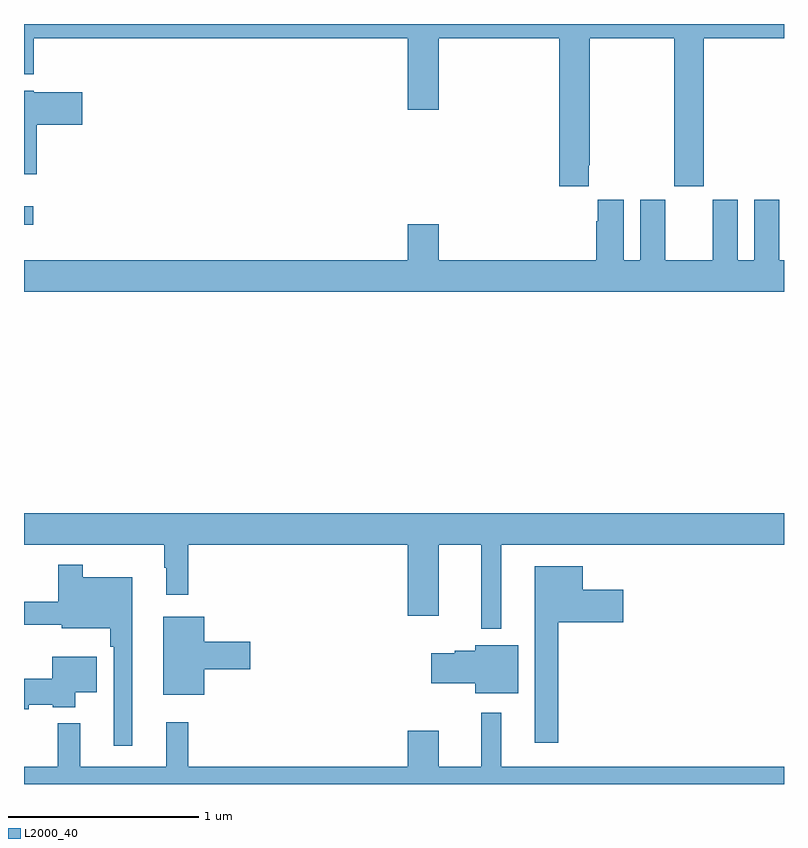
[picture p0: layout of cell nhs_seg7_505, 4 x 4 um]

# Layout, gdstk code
import gdstk
lib = gdstk.Library(unit=1e-6, precision=1e-09)
def R(c, l, rs):  # rectangles x0, y0, x1, y1
    for r in rs: c.add(gdstk.rectangle(r[:2], r[2:], *l))
def P(c, l, *ps):  # polygons
    for p in ps: c.add(gdstk.Polygon(p, *l))
L2000_40 = (2000, 40)

nhs_seg7_505 = lib.new_cell('nhs_seg7_505')
R(nhs_seg7_505, L2000_40, [(151,1024.944,151.048,1025.04)])
P(nhs_seg7_505, L2000_40, [(151,1025.735),(151.052,1025.735),(151.052,1025.924),(153.02,1025.924),(153.02,1025.55),(153.184,1025.55),(153.184,1025.924),(153.818,1025.924),(153.818,1025.145),(153.973,1025.145),(153.973,1025.257),(153.978,1025.257),(153.978,1025.924),(154.423,1025.924),(154.423,1025.145),(154.578,1025.145),(154.578,1025.924),(155,1025.924),(155,1026),(151,1026)],
  [(151.067,1025.471),(151.306,1025.471),(151.306,1025.641),(151.05,1025.641),(151.05,1025.65),(151,1025.65),(151,1025.208),(151.067,1025.208)],
  [(155,1024.756),(154.975,1024.756),(154.975,1025.074),(154.844,1025.074),(154.844,1024.756),(154.756,1024.756),(154.756,1025.074),(154.625,1025.074),(154.625,1024.756),(154.375,1024.756),(154.375,1025.074),(154.244,1025.074),(154.244,1024.756),(154.156,1024.756),(154.156,1025.074),(154.019,1025.074),(154.019,1024.961),(154.013,1024.961),(154.013,1024.756),(153.184,1024.756),(153.184,1024.945),(153.02,1024.945),(153.02,1024.756),(151,1024.756),(151,1024.592),(155,1024.592)],
  [(153.511,1023.26),(155,1023.26),(155,1023.424),(151,1023.424),(151,1023.26),(151.737,1023.26),(151.737,1023.137),(151.748,1023.137),(151.748,1022.997),(151.865,1022.997),(151.865,1023.26),(153.02,1023.26),(153.02,1022.886),(153.184,1022.886),(153.184,1023.26),(153.407,1023.26),(153.407,1022.816),(153.511,1022.816)],
  [(151.57,1023.088),(151.309,1023.088),(151.309,1023.154),(151.18,1023.154),(151.18,1022.959),(151,1022.959),(151,1022.838),(151.199,1022.838),(151.199,1022.819),(151.453,1022.819),(151.453,1022.723),(151.473,1022.723),(151.473,1022.202),(151.57,1022.202)],
  [(153.811,1022.852),(154.153,1022.852),(154.153,1023.022),(153.94,1023.022),(153.94,1023.145),(153.689,1023.145),(153.689,1022.217),(153.811,1022.217)],
  [(151.948,1022.603),(152.191,1022.603),(152.191,1022.75),(151.948,1022.75),(151.948,1022.881),(151.733,1022.881),(151.733,1022.471),(151.948,1022.471)],
  [(153.601,1022.731),(153.374,1022.731),(153.374,1022.702),(153.267,1022.702),(153.267,1022.689),(153.144,1022.689),(153.144,1022.531),(153.374,1022.531),(153.374,1022.477),(153.601,1022.477)],
  [(151.026,1022.416),(151.152,1022.416),(151.152,1022.405),(151.27,1022.405),(151.27,1022.483),(151.384,1022.483),(151.384,1022.671),(151.148,1022.671),(151.148,1022.553),(151,1022.553),(151,1022.394),(151.026,1022.394)],
  [(155,1022.092),(153.511,1022.092),(153.511,1022.374),(153.407,1022.374),(153.407,1022.092),(153.184,1022.092),(153.184,1022.281),(153.02,1022.281),(153.02,1022.092),(151.865,1022.092),(151.865,1022.326),(151.748,1022.326),(151.748,1022.092),(151.295,1022.092),(151.295,1022.32),(151.177,1022.32),(151.177,1022.092),(151,1022.092),(151,1022),(155,1022)])

lib.write_gds('nhs_seg7_505.gds')
